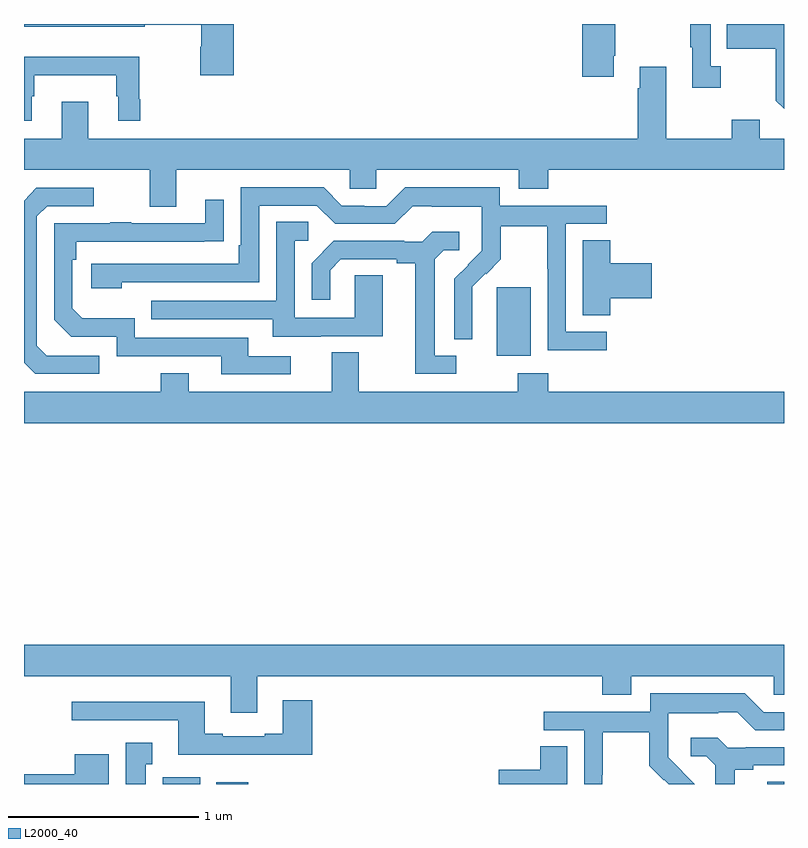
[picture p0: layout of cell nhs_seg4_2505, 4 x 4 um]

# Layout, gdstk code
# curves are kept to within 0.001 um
import gdstk
lib = gdstk.Library(unit=1e-6, precision=1e-09)
def R(c, l, rs):  # rectangles x0, y0, x1, y1
    for r in rs: c.add(gdstk.rectangle(r[:2], r[2:], *l))
def P(c, l, *ps):  # polygons
    for p in ps: c.add(gdstk.Polygon(p, *l))
L2000_40 = (2000, 40)

nhs_seg4_2505 = lib.new_cell('nhs_seg4_2505')
R(nhs_seg4_2505, L2000_40, [(241.73,814.9,241.927,814.936), (242.012,814.9,242.179,814.909), (244.913,814.9,245,814.913), (243.488,817.154,243.667,817.515)])
P(nhs_seg4_2505, L2000_40, [(244.666,818.678),(244.614,818.678),(244.614,818.9),(244.506,818.9),(244.506,818.777),(244.517,818.777),(244.517,818.565),(244.666,818.565)],
  [(245,818.9),(244.699,818.9),(244.699,818.77),(244.956,818.77),(244.956,818.497),(245,818.453)],
  [(244.105,818.734),(244.113,818.734),(244.113,818.9),(243.938,818.9),(243.938,818.622),(244.105,818.622)],
  [(242.105,818.9),(241,818.9),(241,818.885),(241.636,818.885),(241.636,818.896),(241.934,818.896),(241.934,818.781),(241.927,818.781),(241.927,818.631),(242.105,818.631)],
  [(241.042,818.519),(241.054,818.519),(241.054,818.63),(241.485,818.63),(241.485,818.519),(241.496,818.519),(241.496,818.391),(241.613,818.391),(241.613,818.503),(241.606,818.503),(241.606,818.728),(241,818.728),(241,818.391),(241.042,818.391)],
  [(241.801,818.132),(242.715,818.132),(242.715,818.034),(242.853,818.034),(242.853,818.132),(243.605,818.132),(243.605,818.033),(243.758,818.033),(243.758,818.132),(245,818.132),(245,818.296),(244.873,818.296),(244.873,818.395),(244.726,818.395),(244.726,818.296),(244.381,818.296),(244.381,818.674),(244.241,818.674),(244.241,818.561),(244.229,818.561),(244.229,818.296),(241.339,818.296),(241.339,818.491),(241.199,818.491),(241.199,818.296),(241,818.296),(241,818.132),(241.661,818.132),(241.661,817.938),(241.801,817.938)],
  [(244.066,817.281),(243.852,817.281),(243.852,817.848),(244.066,817.848),(244.066,817.944),(243.504,817.944),(243.504,818.041),(243.007,818.041),(242.907,817.941),(242.792,817.941),(242.792,817.944),(242.673,817.944),(242.577,818.04),(242.142,818.04),(242.142,817.735),(242.129,817.735),(242.129,817.638),(241.353,817.638),(241.353,817.508),(241.514,817.508),(241.514,817.542),(242.238,817.542),(242.238,817.944),(242.541,817.944),(242.637,817.848),(242.952,817.848),(243.045,817.941),(243.145,817.941),(243.145,817.937),(243.408,817.937),(243.408,817.803),(243.41,817.803),(243.41,817.706),(243.264,817.558),(243.264,817.24),(243.36,817.24),(243.359,817.517),(243.429,817.587),(243.432,817.584),(243.509,817.661),(243.509,817.836),(243.754,817.836),(243.754,817.612),(243.756,817.612),(243.756,817.183),(244.066,817.183)],
  [(241.396,817.155),(241.119,817.155),(241.068,817.206),(241.068,817.887),(241.122,817.941),(241.366,817.941),(241.366,818.037),(241.065,818.037),(241,817.971),(241,817.118),(241.059,817.059),(241.396,817.059)],
  [(242.404,817.152),(242.179,817.152),(242.179,817.248),(241.584,817.248),(241.584,817.351),(241.307,817.351),(241.254,817.404),(241.254,817.658),(241.274,817.658),(241.274,817.755),(242.051,817.756),(242.051,817.975),(241.955,817.975),(241.955,817.851),(241.565,817.851),(241.565,817.856),(241.453,817.856),(241.453,817.851),(241.158,817.851),(241.158,817.344),(241.248,817.254),(241.488,817.254),(241.488,817.152),(242.039,817.152),(242.039,817.056),(242.404,817.056)],
  [(242.563,817.257),(242.887,817.257),(242.887,817.577),(242.742,817.577),(242.742,817.353),(242.424,817.353),(242.424,817.758),(242.497,817.758),(242.497,817.859),(242.328,817.859),(242.328,817.443),(241.669,817.443),(241.669,817.347),(242.309,817.347),(242.309,817.253),(242.563,817.253)],
  [(243.274,817.155),(243.163,817.155),(243.163,817.663),(243.21,817.71),(243.292,817.71),(243.292,817.807),(243.148,817.807),(243.096,817.755),(243.002,817.755),(243.002,817.758),(242.63,817.758),(242.514,817.642),(242.514,817.449),(242.611,817.449),(242.611,817.605),(242.668,817.662),(242.963,817.662),(242.963,817.64),(243.059,817.64),(243.059,817.059),(243.274,817.059)],
  [(244.085,817.457),(244.303,817.457),(244.303,817.64),(244.085,817.64),(244.085,817.763),(243.941,817.763),(243.941,817.366),(244.085,817.366)],
  [(245,816.964),(243.758,816.964),(243.758,817.063),(243.598,817.063),(243.598,816.964),(242.761,816.964),(242.761,817.172),(242.621,817.172),(242.621,816.964),(241.867,816.964),(241.867,817.063),(241.72,817.063),(241.72,816.964),(241,816.964),(241,816.8),(245,816.8)],
  [(242.227,815.468),(244.043,815.468),(244.043,815.369),(244.195,815.369),(244.195,815.468),(244.947,815.468),(244.947,815.37),(245,815.37),(245,815.632),(241,815.632),(241,815.468),(242.087,815.468),(242.087,815.274),(242.227,815.274)],
  [(244.044,814.948),(244.047,814.948),(244.047,815.172),(244.291,815.172),(244.291,814.997),(244.368,814.92),(244.371,814.923),(244.394,814.9),(244.53,814.9),(244.39,815.042),(244.39,815.139),(244.392,815.139),(244.392,815.273),(244.655,815.273),(244.655,815.277),(244.755,815.277),(244.848,815.184),(245,815.184),(245,815.277),(244.893,815.277),(244.793,815.377),(244.296,815.377),(244.296,815.28),(243.735,815.28),(243.735,815.184),(243.948,815.184),(243.948,814.9),(244.044,814.9)],
  [(242.516,815.341),(242.363,815.341),(242.363,815.164),(242.267,815.164),(242.267,815.151),(242.047,815.151),(242.047,815.164),(241.951,815.164),(241.951,815.332),(241.251,815.332),(241.251,815.235),(241.811,815.235),(241.811,815.054),(242.516,815.054)],
  [(244.741,814.976),(244.837,814.976),(244.837,814.998),(245,814.998),(245,815.094),(244.798,815.094),(244.798,815.091),(244.704,815.091),(244.652,815.143),(244.509,815.143),(244.509,815.046),(244.59,815.046),(244.637,814.999),(244.637,814.9),(244.741,814.9)],
  [(241.642,815.003),(241.675,815.003),(241.675,815.116),(241.535,815.116),(241.535,814.9),(241.642,814.9)],
  [(243.859,815.099),(243.716,815.099),(243.716,814.976),(243.498,814.976),(243.498,814.9),(243.859,814.9)],
  [(241.447,815.056),(241.268,815.056),(241.268,814.952),(241,814.952),(241,814.9),(241.447,814.9)])

lib.write_gds('nhs_seg4_2505.gds')
